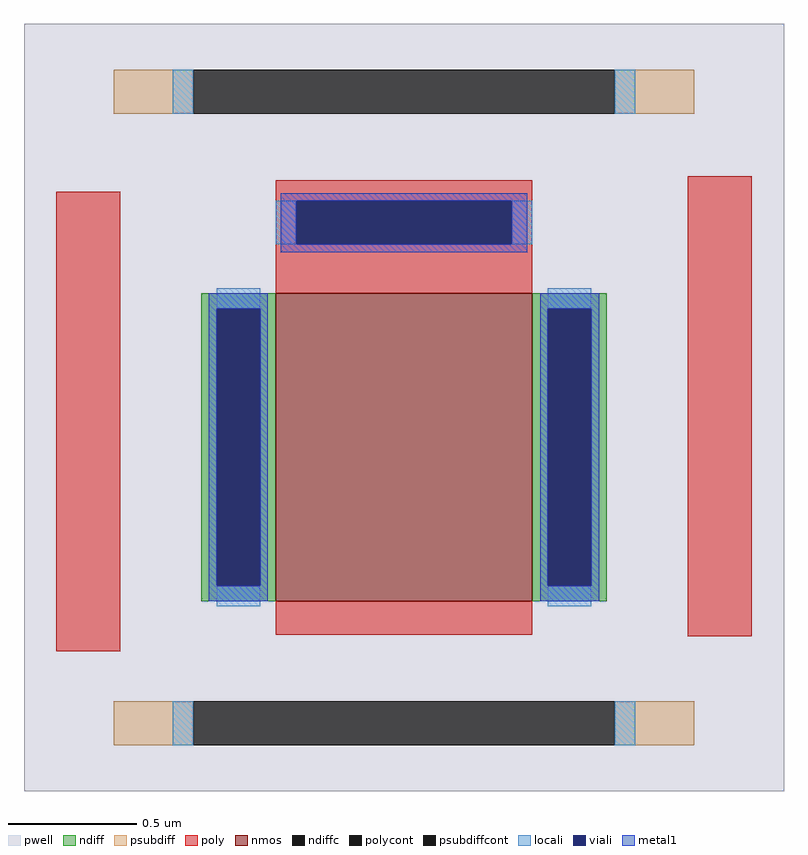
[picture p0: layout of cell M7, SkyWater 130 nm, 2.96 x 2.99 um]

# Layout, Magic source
magic
tech sky130B
magscale 1 2
<< pwell >>
rect -296 -299 296 299
<< nmos >>
rect -100 -151 100 89
<< ndiff >>
rect -158 77 -100 89
rect -158 -139 -146 77
rect -112 -139 -100 77
rect -158 -151 -100 -139
rect 100 77 158 89
rect 100 -139 112 77
rect 146 -139 158 77
rect 100 -151 158 -139
<< ndiffc >>
rect -146 -139 -112 77
rect 112 -139 146 77
<< psubdiff >>
rect -226 229 -164 263
rect 164 229 226 263
rect -226 -263 -164 -229
rect 164 -263 226 -229
<< psubdiffcont >>
rect -164 229 164 263
rect -164 -263 164 -229
<< poly >>
rect -271 -190 -221 168
rect -100 161 100 177
rect -100 127 -84 161
rect 84 127 100 161
rect -100 89 100 127
rect -100 -177 100 -151
rect 221 -178 271 180
<< polycont >>
rect -84 127 84 161
<< locali >>
rect -180 229 -164 263
rect 164 229 180 263
rect -100 127 -84 161
rect 84 127 100 161
rect -146 77 -112 93
rect -146 -155 -112 -139
rect 112 77 146 93
rect 112 -155 146 -139
rect -180 -263 -164 -229
rect 164 -263 180 -229
<< viali >>
rect -84 127 84 161
rect -146 -139 -112 77
rect 112 -139 146 77
<< metal1 >>
rect -96 161 96 167
rect -96 127 -84 161
rect 84 127 96 161
rect -96 121 96 127
rect -152 77 -106 89
rect -152 -139 -146 77
rect -112 -139 -106 77
rect -152 -151 -106 -139
rect 106 77 152 89
rect 106 -139 112 77
rect 146 -139 152 77
rect 106 -151 152 -139
<< properties >>
string FIXED_BBOX -243 -246 243 246
string gencell sky130_fd_pr__nfet_01v8
string library sky130
string parameters w 1.2 l 1 m 1 nf 1 diffcov 100 polycov 100 guard 1 glc 0 grc 0 gtc 1 gbc 1 tbcov 100 rlcov 100 topc 1 botc 0 poverlap 0 doverlap 1 lmin 0.15 wmin 0.42 compatible {sky130_fd_pr__nfet_01v8 sky130_fd_pr__nfet_01v8_lvt  sky130_fd_bs_flash__special_sonosfet_star  sky130_fd_pr__nfet_g5v0d10v5 sky130_fd_pr__nfet_05v0_nvt  sky130_fd_pr__nfet_03v3_nvt} full_metal 0 viasrc 100 viadrn 100 viagate 100 viagb 0 viagr 0 viagl 0 viagt 0
<< end >>
